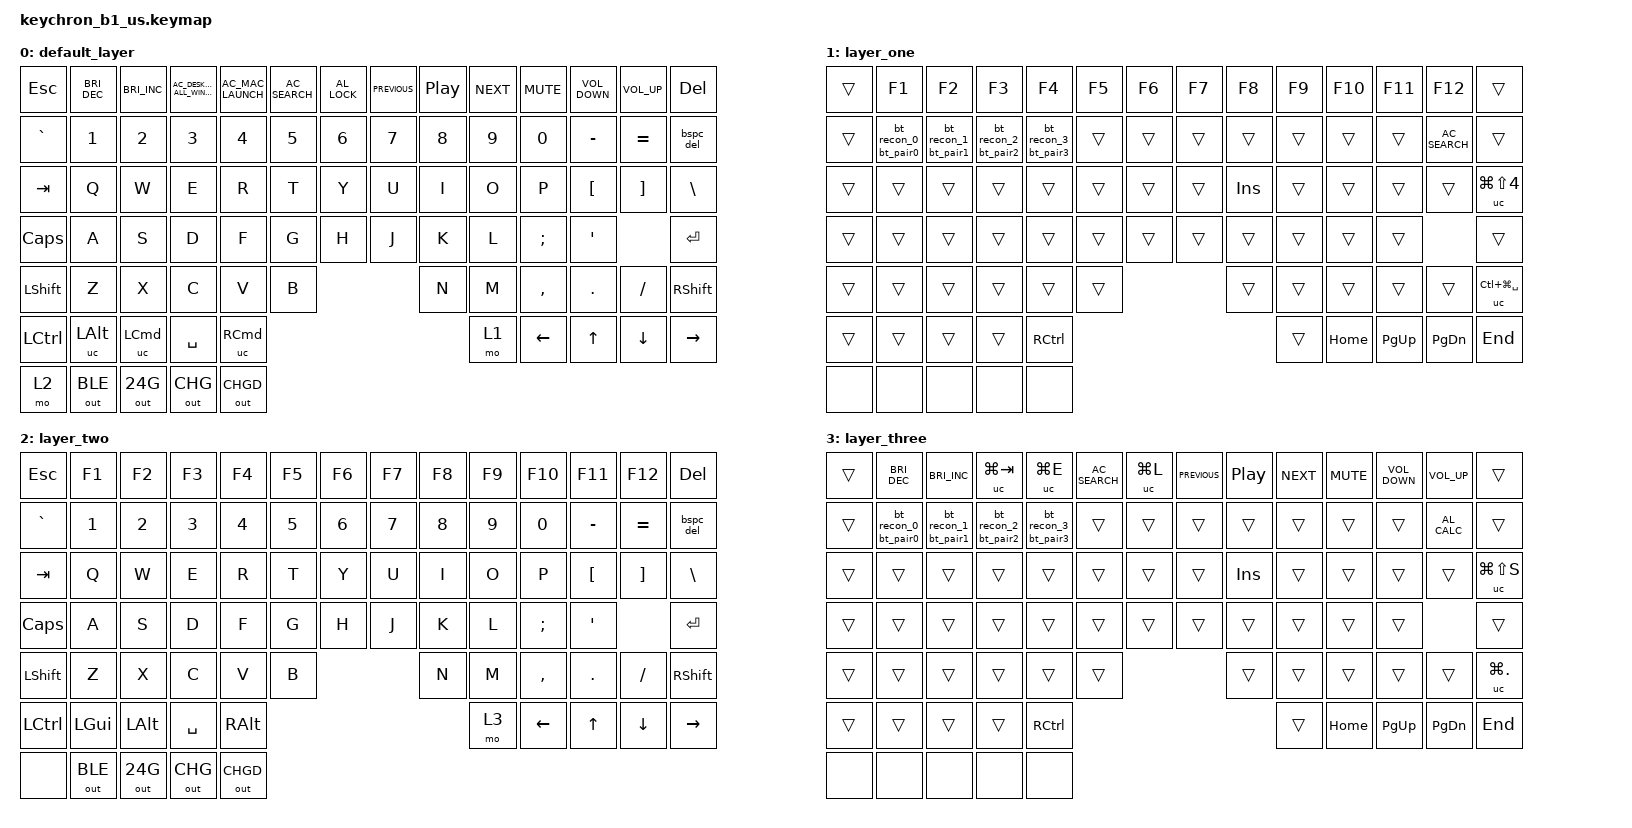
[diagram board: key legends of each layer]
/*
 * Copyright (c) 2023 The ZMK Contributors
 *
 * SPDX-License-Identifier: MIT
 */

#include <behaviors.dtsi>
#include <dt-bindings/zmk/keys.h>
#include <dt-bindings/zmk/rgb.h>
#include <dt-bindings/zmk/bt.h>
#include <dt-bindings/zmk/outputs.h>
#include <dt-bindings/zmk/modifiers.h>

/ {
    ZMK_MACRO(recover, bindings = <&out OUT_RECOVER>;)
    ZMK_MACRO(change, bindings = <&out OUT_FN>;)
    ZMK_MACRO(fn_win, bindings = <&out OUT_FN_WIN>;)

    ZMK_MACRO(en_bootloader, bindings = <&bootloader>;)
    ZMK_MACRO1(MA,bindings=<&kp 0x770000>;)

    long_press_recover:l1 {
        compatible = "zmk,behavior-hold-tap";
        label = "l1";
        #binding-cells = <2>;
        flavor = "tap-preferred";
        tapping-term-ms = <3000>;  // delay amount in ms
        bindings = <&recover>, <&none>;
    };

    long_press_change:l2{
        compatible = "zmk,behavior-hold-tap";
        label = "lp_change";
        #binding-cells = <2>;
        flavor = "tap-preferred";
        tapping-term-ms = <3000>;  // delay amount in ms
        bindings = <&change>, <&none>;
    };
    long_press_bootloader:l3{
        compatible = "zmk,behavior-hold-tap";
        label = "lp_bootloader";
        #binding-cells = <2>;
        flavor = "tap-preferred";
        tapping-term-ms = <3000>;  // delay amount in ms
        bindings = <&en_bootloader>, <&none>;
    };
    /* Backspace normally, Delete when either Shift is held.
     * masked_mods defaults to mods, so the Shift is stripped from the
     * morphed output and the host sees a plain Delete.
     * NOTE: the Launcher must keep reporting KC_BACKSPACE for this key or the
     * stored layout overwrites this binding at boot - see generate_via_keymaps()
     * in app/src/launcher/map_keycode.c, which special-cases the BSPC_DEL label. */
    bspc_del: bspc_del {
        compatible = "zmk,behavior-mod-morph";
        label = "BSPC_DEL";
        #binding-cells = <0>;
        bindings = <&kp BSPC>, <&kp DEL>;
        mods = <(MOD_LSFT|MOD_RSFT)>;
    };

    long_press_fn_win:l4{
        compatible = "zmk,behavior-hold-tap";
        label = "lp_fn_win";
        #binding-cells = <2>;
        flavor = "tap-preferred";
        tapping-term-ms = <3000>;   
        bindings = <&fn_win>, <&none>;
    };
   

    /* Fn + T: tap = type the time (HH:MM), hold 0.8 s = set the clock */
    clock_ht: clock_ht {
        compatible = "zmk,behavior-hold-tap";
        label = "CLOCK_HT";
        #binding-cells = <2>;
        flavor = "tap-preferred";
        tapping-term-ms = <800>;
        bindings = <&kb_clock>, <&kb_clock>;
    };

    combos1 {
        compatible = "zmk,combos";
        /* Factory Reset: Remapped to Fn + C + W */
        combo_jz {
            timeout-ms = <100>;
            layers = <1 3>;
            key-positions = <58 30>; // C (58) + W (30)
            bindings = <&long_press_recover 0 0>;
        };
        /* Mode Toggle: Remapped to Fn + X + E */
        combo_xl {
            timeout-ms = <100>;
            layers = <1 3>;
            key-positions = <57 31>; // X (57) + E (31)
            bindings = <&long_press_change 0 0>;
        };
        combo_b {
            timeout-ms = <1000>;
            layers =< 1 3>;
            //slow-release = <true>;
            key-positions = <10>; //fn+b --> changed to fn+0 (fn+Zero)
            bindings = <&out OUT_BAT>;
        };

        /* Keep-awake: Fn + ] toggles it (blue LED solid while on).
         * Taps F24 every 30 s and stops after the time limit chosen with
         * Fn + [ (USB and wireless alike). */
        combo_keep_awake {
            timeout-ms = <1000>;
            layers = <1 3>;
            key-positions = <40>; // ]
            bindings = <&keep_awake KA_TOG>;
        };
        /* Fn + [ cycles the time limit 10 -> 30 -> 60 min -> unlimited.
         * Blue LED blinks 1/2/3/4 times to confirm. Saved across reboots. */
        combo_keep_awake_limit {
            timeout-ms = <1000>;
            layers = <1 3>;
            key-positions = <39>; // [
            bindings = <&keep_awake KA_CYCLE>;
        };

        /* Fn + - types a status line: battery, connection, uptime, keep-awake */
        combo_status_info {
            timeout-ms = <1000>;
            layers = <1 3>;
            key-positions = <25>; // -
            bindings = <&status_info>;
        };

        /* Fn + T: tap types the time, hold enters set mode (then type 1934 or 19:34) */
        combo_clock {
            timeout-ms = <1000>;
            layers = <1 3>;
            key-positions = <33>; // T
            bindings = <&clock_ht CLK_SET CLK_TYPE>;
        };
        /* Fn + Q: sleep mode deep <-> light (LED blinks 1x = deep, 2x = light) */
        combo_sleep_mode {
            timeout-ms = <1000>;
            layers = <1 3>;
            key-positions = <29>; // Q
            bindings = <&kb_clock CLK_SLEEP>;
        };

        combo_win_l {
            timeout-ms = <1000>;
            layers =< 1 3>;
            //slow-release = <true>;
            key-positions = <68>; //fn+win
            bindings = <&long_press_fn_win 0 0>;
        };

        combo_t0 {
            timeout-ms = <10 >;
            layers =<4>;
          
            key-positions = <80 90>;  
            bindings = <&to 3 >;
        };
        combo_t1 {
            timeout-ms = <10 >;
            layers =<4>;
          
            key-positions = <80 91>;  
            bindings = <&tog 3 >;
        };
        combo_t2 {
            timeout-ms = <10 >;
            layers =<4>;
          
            key-positions = <80 92>;  
            bindings = <&sl 3 >;
        };
        combo_t3 {
            timeout-ms = <10 >;
            layers =<4>;
          
            key-positions = <70 93>;  
            bindings = <&lt 3 SPACE>;
        };
        combo_t4 {
            timeout-ms = <10 >;
            layers =<4>;
          
            key-positions = <81 94>;  
            bindings = <&sk LSHIFT>;
        };
        combo_t5 {
            timeout-ms = <10 >;
            layers =<4>;
          
            key-positions = <81 93>;  
            bindings = <&mt LSHIFT SPACE>;
        };
        combo_t6 {
            timeout-ms = <10 >;
            layers =<4>;
          
            key-positions = <81 93>;  
            bindings = <&gresc>;
        };
    };

    td0 {
        compatible = "zmk,behavior-tap-dance";
        label = "TAPD_LAYER";
        #binding-cells = <1>;
        tapping-term-ms = <350>;
        bindings =<&mo 0>,<&mo 0>,<&mo 0>,<&mo 0>,<&to 0>;
    };
    ZMK_MACRO(bt_pair0, bindings = <&bt BT_PAIR 0>;)
    ZMK_MACRO(bt_pair1, bindings = <&bt BT_PAIR 1>;)
    ZMK_MACRO(bt_pair2, bindings = <&bt BT_PAIR 2>;)
    ZMK_MACRO(bt_pair3, bindings = <&bt BT_PAIR 3>;)
    ZMK_MACRO(bt_recon_0, bindings = <&bt BT_SEL 0>;)
    ZMK_MACRO(bt_recon_1, bindings = <&bt BT_SEL 1>;)
    ZMK_MACRO(bt_recon_2, bindings = <&bt BT_SEL 2>;)
    ZMK_MACRO(bt_recon_3, bindings = <&bt BT_SEL 3>;)
    


    bt_pair_0: bt_pair_0 {
        compatible = "zmk,behavior-hold-tap";
        label = "bt_pair0";
        #binding-cells = <2>;
        flavor = "tap-preferred";
        tapping-term-ms = <3000>;  // delay amount in ms
        bindings = <&bt_pair0>, <&bt_recon_0>;
    };
    bt_pair_1: bt_pair_1 {
        compatible = "zmk,behavior-hold-tap";
        label = "bt_pair1";
        #binding-cells = <2>;
        flavor = "tap-preferred";
        tapping-term-ms = <3000>;  // delay amount in ms
        bindings = <&bt_pair1>, <&bt_recon_1>;
    };
    bt_pair_2: bt_pair_2 {
        compatible = "zmk,behavior-hold-tap";
        label = "bt_pair2";
        #binding-cells = <2>;
        flavor = "tap-preferred";
        tapping-term-ms = <3000>;  // delay amount in ms
        bindings = <&bt_pair2>, <&bt_recon_2>;
    };
    bt_pair_3: bt_pair_3 {
        compatible = "zmk,behavior-hold-tap";
        label = "bt_pair3";
        #binding-cells = <2>;
        flavor = "tap-preferred";
        tapping-term-ms = <3000>;  // delay amount in ms
        bindings = <&bt_pair3>, <&bt_recon_3>;
    };
    uc:user_custom {
        compatible = "zmk,behavior-key-press";
        label ="user_custom";
        #binding-cells =<1>;
    };

	keymap {
    	compatible = "zmk,keymap";
            //mac
        default_layer {
        bindings = <
          //ESC         //f1                    //f2                //f3                                    //f4                //f5                //f6            //f7            //f8                //f9        //f10       //f11               //f12               //DEL                                              
        &kp ESC     &kp C_BRIGHTNESS_DEC    &kp C_BRIGHTNESS_INC    &kp C_AC_DESKTOP_SHOW_ALL_WINDOWS   &kp  C_AC_MAC_LAUNCH    &kp C_AC_SEARCH     &kp C_AL_LOCK   &kp C_PREVIOUS  &kp C_PLAY_PAUSE    &kp C_NEXT  &kp C_MUTE  &kp C_VOLUME_DOWN   &kp C_VOLUME_UP     &kp DEL  
        &kp GRAVE   &kp N1                  &kp N2                  &kp N3                              &kp N4                  &kp N5              &kp N6          &kp N7          &kp N8              &kp N9      &kp N0      &kp MINUS           &kp EQUAL           &bspc_del
        &kp TAB     &kp Q                   &kp W                   &kp E                               &kp R                   &kp T               &kp Y           &kp U           &kp I               &kp O       &kp P       &kp LBKT            &kp RBKT            &kp BSLH      
        &kp CLCK    &kp A                   &kp S                   &kp D                               &kp F                   &kp G               &kp H           &kp J           &kp K               &kp L       &kp SEMI    &kp SQT                         &kp RET                                         
        &kp LSHFT   &kp Z                   &kp X                   &kp C                               &kp V                   &kp B               &kp N           &kp M           &kp COMMA           &kp DOT     &kp FSLH                                    &kp RSHFT 
        &kp LCTRL   &uc LALT                &uc LCMD                       &kp SPACE                                                                                                &uc RCMD            &mo 1       &kp LEFT    &kp UP              &kp DOWN            &kp RIGHT   
        &mo 2       &out OUT_BLE            &out OUT_24G            &out OUT_CHG                        &out OUT_CHGD 
            >;
        };
        //mac
        layer_one  {
        bindings = < 
        &trans      &kp F1                  &kp F2                  &kp F3                              &kp F4                  &kp F5              &kp F6          &kp F7          &kp F8              &kp F9      &kp F10     &kp F11             &kp F12             &trans    
        &trans      &bt_pair_0 0 0          &bt_pair_1 0 0          &bt_pair_2 0 0                      &bt_pair_3 0 0          &trans              &trans          &trans          &trans              &trans      &trans      &trans              &kp C_AC_SEARCH     &trans      
        &trans      &trans                  &trans                  &trans                              &trans                  &trans              &trans          &trans          &kp INS             &trans      &trans      &trans              &trans              &uc LG(LS(N4))
        &trans      &trans                  &trans                  &trans                              &trans                  &trans              &trans          &trans          &trans              &trans      &trans      &trans                      &trans                  
        &trans      &trans                  &trans                  &trans                              &trans                  &trans              &trans          &trans          &trans              &trans      &trans                                  &uc LC(LG(SPACE))
        &trans      &trans                  &trans                         &trans                                                                                                   &kp RCTRL           &trans        &kp HOME   &kp PG_UP   &kp PG_DN    &kp END  
        //
        &none       &none                   &none                   &none                               &none
            >;
        };
        //win
        layer_two {
 		bindings = <
        &kp ESC 	&kp F1 	               &kp F2 	                &kp F3 	                            &kp F4 	                &kp F5 	            &kp F6 	        &kp F7 	        &kp F8 	            &kp F9 	     &kp F10 	&kp F11 	         &kp F12 	         &kp DEL     
        &kp GRAVE	&kp N1 	               &kp N2 	                &kp N3 	                            &kp N4 	                &kp N5 	            &kp N6 	        &kp N7 	        &kp N8 	            &kp N9 	     &kp N0     &kp MINUS 	         &kp EQUAL 	         &bspc_del
        &kp TAB 	&kp Q 	               &kp W                    &kp E 	                            &kp R 	                &kp T               &kp Y 	        &kp U 	        &kp I 	            &kp O 	     &kp P 		&kp LBKT 	         &kp RBKT 	         &kp BSLH 	 	
        &kp CLCK 	&kp A 	               &kp S 	                &kp D 	                            &kp F 	                &kp G 	            &kp H 	        &kp J 	        &kp K 	            &kp L 	     &kp SEMI 	&kp SQT                      &kp RET
        &kp LSHFT   &kp Z 	               &kp X 	                &kp C 	                            &kp V 	                &kp B 	            &kp N 	        &kp M 	        &kp COMMA           &kp DOT      &kp FSLH                                &kp RSHFT				
        &kp LCTRL 	&kp LGUI               &kp LALT                      &kp SPACE              		                                                                            &kp RALT 	        &mo 3 		  &kp LEFT 	 &kp UP      &kp DOWN 	&kp RIGHT 	
        //
        &none       &out OUT_BLE           &out OUT_24G             &out OUT_CHG                        &out OUT_CHGD 
            >;
        };
        //win
        layer_three {
        bindings = < 
                    //f1                    //f2                    //f3                                //f4                        //f5            //f6              //f7            //f8              //f9        //f10           //f11                         //f12                     
        &trans  &kp C_BRIGHTNESS_DEC    &kp C_BRIGHTNESS_INC        &uc LG(TAB)                         &uc LG(E)               &kp C_AC_SEARCH     &uc LG(L)       &kp C_PREVIOUS  &kp C_PLAY_PAUSE    &kp C_NEXT  &kp C_MUTE  &kp C_VOLUME_DOWN           &kp C_VOLUME_UP      &trans   
        &trans  &bt_pair_0 0 0          &bt_pair_1 0 0              &bt_pair_2 0 0                      &bt_pair_3 0 0          &trans              &trans          &trans          &trans              &trans      &trans      &trans                      &kp C_AL_CALC        &trans          
        &trans  &trans                  &trans                      &trans                              &trans                  &trans              &trans          &trans          &kp INS             &trans      &trans      &trans                      &trans               &uc LG(LS(S))      
        &trans  &trans                  &trans                      &trans                              &trans                  &trans              &trans          &trans          &trans              &trans      &trans      &trans                              &trans  
        &trans  &trans                  &trans                      &trans                              &trans                  &trans              &trans          &trans          &trans              &trans      &trans                                          &uc LG(DOT) 
        &trans  &trans                  &trans                           &trans                                                                                                     &kp RCTRL           &trans      &kp HOME    &kp PG_UP    &kp PG_DN   &kp END    
        //
        &none   &none                   &none                       &none                               &none
            >;
        };
   

    	
    
	};
};

	
